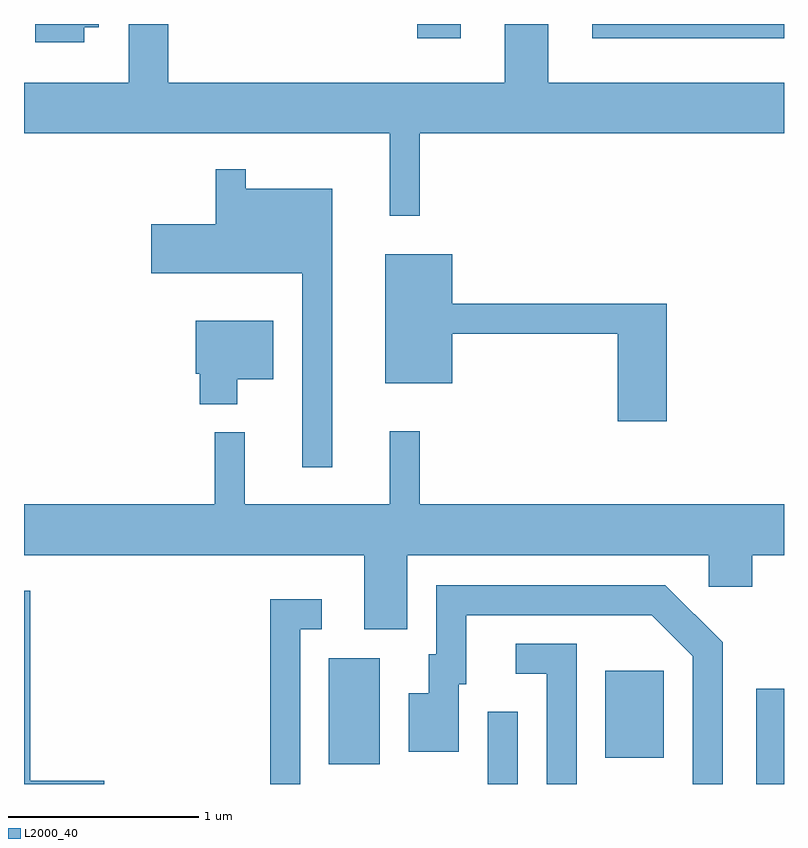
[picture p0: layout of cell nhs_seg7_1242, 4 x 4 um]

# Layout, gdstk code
import gdstk
lib = gdstk.Library(unit=1e-6, precision=1e-09)
def R(c, l, rs):  # rectangles x0, y0, x1, y1
    for r in rs: c.add(gdstk.rectangle(r[:2], r[2:], *l))
def P(c, l, *ps):  # polygons
    for p in ps: c.add(gdstk.Polygon(p, *l))
L2000_40 = (2000, 40)

nhs_seg7_1242 = lib.new_cell('nhs_seg7_1242')
R(nhs_seg7_1242, L2000_40, [(226.051,1684.252,226.209,1684.633), (227.466,1684.252,227.611,1684.753), (225.216,1684.356,225.484,1684.914), (226.671,1684.391,226.979,1684.849), (225.681,1688.176,225.909,1688.252), (226.601,1688.176,227.611,1688.252)])
P(nhs_seg7_1242, L2000_40, [(225.694,1687.676),(227.611,1687.676),(227.611,1687.944),(226.369,1687.944),(226.369,1688.252),(226.141,1688.252),(226.141,1687.944),(224.369,1687.944),(224.369,1688.252),(224.161,1688.252),(224.161,1687.944),(223.611,1687.944),(223.611,1687.676),(225.536,1687.676),(225.536,1687.243),(225.694,1687.243)],
  [(223.929,1688.236),(224.004,1688.236),(224.004,1688.252),(223.671,1688.252),(223.671,1688.156),(223.929,1688.156)],
  [(225.234,1687.384),(224.779,1687.384),(224.779,1687.488),(224.621,1687.488),(224.621,1687.199),(224.281,1687.199),(224.281,1686.941),(225.076,1686.941),(225.076,1685.918),(225.234,1685.918)],
  [(226.994,1686.779),(225.864,1686.779),(225.864,1687.039),(225.511,1687.039),(225.511,1686.361),(225.864,1686.361),(225.864,1686.621),(226.736,1686.621),(226.736,1686.161),(226.994,1686.161)],
  [(224.734,1686.381),(224.924,1686.381),(224.924,1686.689),(224.516,1686.689),(224.516,1686.411),(224.536,1686.411),(224.536,1686.251),(224.734,1686.251)],
  [(225.629,1685.456),(227.216,1685.456),(227.216,1685.291),(227.444,1685.291),(227.444,1685.456),(227.611,1685.456),(227.611,1685.724),(225.694,1685.724),(225.694,1686.108),(225.536,1686.108),(225.536,1685.724),(224.774,1685.724),(224.774,1686.103),(224.616,1686.103),(224.616,1685.724),(223.611,1685.724),(223.611,1685.456),(225.401,1685.456),(225.401,1685.066),(225.629,1685.066)],
  [(227.289,1684.997),(226.987,1685.299),(225.781,1685.299),(225.781,1684.934),(225.741,1684.934),(225.741,1684.729),(225.636,1684.729),(225.636,1684.421),(225.899,1684.421),(225.899,1684.776),(225.939,1684.776),(225.939,1685.141),(226.914,1685.141),(227.131,1684.924),(227.131,1684.252),(227.289,1684.252)],
  [(224.034,1684.269),(223.644,1684.269),(223.644,1685.269),(223.611,1685.269),(223.611,1684.252),(224.034,1684.252)],
  [(225.064,1685.066),(225.178,1685.066),(225.178,1685.224),(224.906,1685.224),(224.906,1684.252),(225.064,1684.252)],
  [(226.519,1684.989),(226.198,1684.989),(226.198,1684.831),(226.361,1684.831),(226.361,1684.252),(226.519,1684.252)])

lib.write_gds('nhs_seg7_1242.gds')
